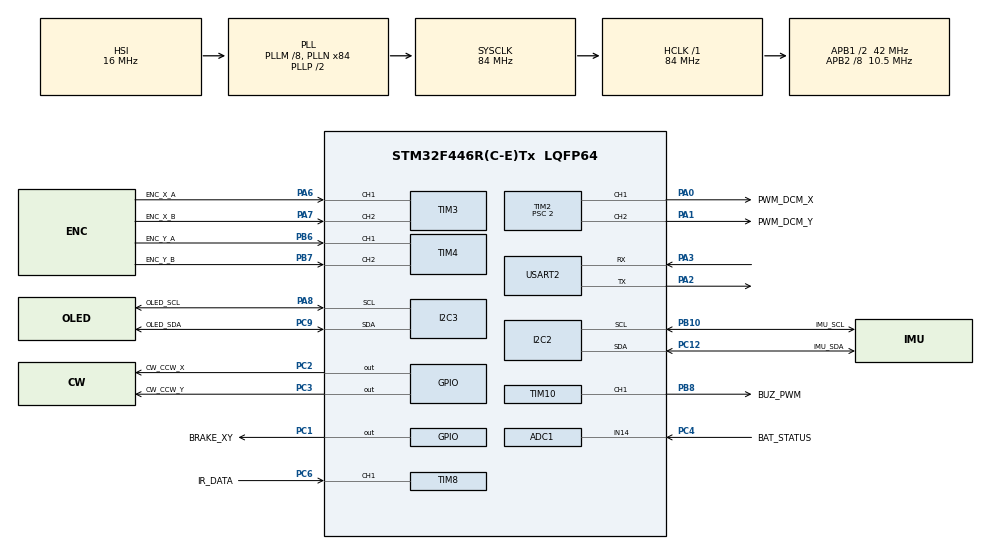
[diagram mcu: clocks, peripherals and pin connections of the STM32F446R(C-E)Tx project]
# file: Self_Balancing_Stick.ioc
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ADC1.Channel-2\#ChannelRegularConversion=ADC_CHANNEL_14
ADC1.NbrOfConversionFlag=1
ADC1.Rank-2\#ChannelRegularConversion=1
ADC1.Resolution=ADC_RESOLUTION_10B
ADC1.SamplingTime-2\#ChannelRegularConversion=ADC_SAMPLETIME_3CYCLES
ADC1.master=1
Dma.Request0=TIM8_CH1
Dma.TIM8_CH1.0.Direction=DMA_PERIPH_TO_MEMORY
Dma.TIM8_CH1.0.FIFOMode=DMA_FIFOMODE_DISABLE
Dma.TIM8_CH1.0.Instance=DMA2_Stream2
Dma.TIM8_CH1.0.MemDataAlignment=DMA_MDATAALIGN_WORD
Dma.TIM8_CH1.0.MemInc=DMA_MINC_ENABLE
Dma.TIM8_CH1.0.Mode=DMA_NORMAL
Dma.TIM8_CH1.0.PeriphDataAlignment=DMA_PDATAALIGN_WORD
Dma.TIM8_CH1.0.PeriphInc=DMA_PINC_DISABLE
Dma.TIM8_CH1.0.Priority=DMA_PRIORITY_LOW
I2C2.I2C_Mode=I2C_Fast
Mcu.Family=STM32F4
Mcu.Name=STM32F446R(C-E)Tx
Mcu.Package=LQFP64
NVIC.DMA2_Stream2_IRQn=true\:0\:0\:false\:false\:true\:false\:true\:true
NVIC.I2C2_EV_IRQn=true\:2\:0\:true\:false\:true\:true\:true\:true
NVIC.I2C3_EV_IRQn=true\:10\:0\:true\:false\:true\:true\:true\:true
NVIC.PriorityGroup=NVIC_PRIORITYGROUP_4
NVIC.TIM1_TRG_COM_TIM11_IRQn=true\:7\:0\:true\:false\:true\:true\:true\:true
NVIC.TIM3_IRQn=true\:0\:0\:false\:false\:true\:true\:true\:true
NVIC.TIM4_IRQn=true\:0\:0\:false\:false\:true\:true\:true\:true
NVIC.TIM8_BRK_TIM12_IRQn=true\:6\:0\:true\:false\:true\:true\:true\:true
NVIC.TIM8_CC_IRQn=true\:0\:0\:false\:false\:true\:true\:true\:true
NVIC.TIM8_TRG_COM_TIM14_IRQn=true\:0\:0\:false\:false\:true\:true\:true\:true
NVIC.TIM8_UP_TIM13_IRQn=true\:9\:0\:true\:false\:true\:true\:true\:true
NVIC.USART2_IRQn=true\:0\:0\:false\:false\:true\:true\:true\:true
PA0-WKUP.GPIO_Label=PWM_DCM_X
PA0-WKUP.Signal=S_TIM2_CH1_ETR
PA1.GPIO_Label=PWM_DCM_Y
PA1.Signal=S_TIM2_CH2
PA13.Mode=Serial_Wire
PA13.Signal=SYS_JTMS-SWDIO
PA14.Mode=Serial_Wire
PA14.Signal=SYS_JTCK-SWCLK
PA2.Mode=Asynchronous
PA2.Signal=USART2_TX
PA3.Mode=Asynchronous
PA3.Signal=USART2_RX
PA6.GPIO_Label=ENC_X_A
PA6.Signal=S_TIM3_CH1
PA7.GPIO_Label=ENC_X_B
PA7.Signal=S_TIM3_CH2
PA8.GPIO_Label=OLED_SCL
PA8.Mode=I2C
PA8.Signal=I2C3_SCL
PB10.GPIO_Label=IMU_SCL
PB10.Mode=I2C
PB10.Signal=I2C2_SCL
PB6.GPIO_Label=ENC_Y_A
PB6.Signal=S_TIM4_CH1
PB7.GPIO_Label=ENC_Y_B
PB7.Signal=S_TIM4_CH2
PB8.GPIO_Label=BUZ_PWM
PB8.Signal=S_TIM10_CH1
PC1.GPIO_Label=BRAKE_XY
PC1.GPIO_PuPd=GPIO_PULLDOWN
PC1.PinState=GPIO_PIN_RESET
PC1.Signal=GPIO_Output
PC12.GPIO_Label=IMU_SDA
PC12.Mode=I2C
PC12.Signal=I2C2_SDA
PC2.GPIO_Label=CW_CCW_X
PC2.GPIO_PuPd=GPIO_PULLUP
PC2.Signal=GPIO_Output
PC3.GPIO_Label=CW_CCW_Y
PC3.GPIO_PuPd=GPIO_PULLUP
PC3.Signal=GPIO_Output
PC4.GPIO_Label=BAT_STATUS
PC4.Signal=ADCx_IN14
PC6.GPIO_Label=IR_DATA
PC6.Signal=S_TIM8_CH1
PC9.GPIO_Label=OLED_SDA
PC9.Mode=I2C
PC9.Signal=I2C3_SDA
ProjectManager.HeapSize=0x200
ProjectManager.StackSize=0x400
ProjectManager.TargetToolchain=STM32CubeIDE
RCC.AHBFreq_Value=84000000
RCC.APB1CLKDivider=RCC_HCLK_DIV2
RCC.APB1Freq_Value=42000000
RCC.APB1TimFreq_Value=84000000
RCC.APB2CLKDivider=RCC_HCLK_DIV8
RCC.APB2Freq_Value=10500000
RCC.APB2TimFreq_Value=21000000
RCC.CortexFreq_Value=84000000
RCC.HCLKFreq_Value=84000000
RCC.PLLM=8
RCC.PLLN=84
RCC.SYSCLKFreq_VALUE=84000000
RCC.SYSCLKSource=RCC_SYSCLKSOURCE_PLLCLK
RCC.USBFreq_Value=84000000
RCC.VCOOutputFreq_Value=168000000
SH.ADCx_IN14.0=ADC1_IN14,IN14
SH.S_TIM10_CH1.0=TIM10_CH1,PWM Generation1 CH1
SH.S_TIM2_CH1_ETR.0=TIM2_CH1,PWM Generation1 CH1
SH.S_TIM2_CH2.0=TIM2_CH2,PWM Generation2 CH2
SH.S_TIM3_CH1.0=TIM3_CH1,Encoder_Interface
SH.S_TIM3_CH2.0=TIM3_CH2,Encoder_Interface
SH.S_TIM4_CH1.0=TIM4_CH1,Encoder_Interface
SH.S_TIM4_CH2.0=TIM4_CH2,Encoder_Interface
SH.S_TIM8_CH1.0=TIM8_CH1,TriggerSource_TI1FP1
SH.S_TIM8_CH1.1=TIM8_CH1,Input_Capture1_from_TI1
TIM10.Channel=TIM_CHANNEL_1
TIM11.Period=10499
TIM11.Prescaler=0
TIM12.Period=41999
TIM12.Prescaler=19
TIM13.Period=41999
TIM13.Prescaler=99
TIM2.Channel-PWM\ Generation1\ CH1=TIM_CHANNEL_1
TIM2.Channel-PWM\ Generation2\ CH2=TIM_CHANNEL_2
TIM2.Period=1000
TIM2.Prescaler=2
TIM8.Channel-Input_Capture1_from_TI1=TIM_CHANNEL_1
TIM8.ICFilter_CH1=4
TIM8.ICPolarity_CH1=TIM_INPUTCHANNELPOLARITY_FALLING
TIM8.Prescaler=20
USART2.VirtualMode=VM_ASYNC
VP_ADC1_Vref_Input.Mode=IN-Vrefint
VP_TIM10_VS_ClockSourceINT.Mode=Enable_Timer
VP_TIM11_VS_ClockSourceINT.Mode=Enable_Timer
VP_TIM12_VS_ClockSourceINT.Mode=Internal
VP_TIM13_VS_ClockSourceINT.Mode=Enable_Timer
VP_TIM8_VS_ClockSourceINT.Mode=Internal
VP_TIM8_VS_ControllerModeReset.Mode=Reset Mode
board=custom

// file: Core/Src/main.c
/* USER CODE BEGIN Header */
/**
  ******************************************************************************
  * @file           : main.c
  * @brief          : Main program body
  ******************************************************************************
  * @attention
  *
  * Copyright (c) 2022 STMicroelectronics.
  * All rights reserved.
  *
  * This software is licensed under terms that can be found in the LICENSE file
  * in the root directory of this software component.
  * If no LICENSE file comes with this software, it is provided AS-IS.
  *
  ******************************************************************************
  */
/* USER CODE END Header */
#include "main.h"
#include "adc.h"
#include "dma.h"
#include "i2c.h"
#include "tim.h"
#include "usart.h"
#include "gpio.h"

/* USER CODE BEGIN Includes */
#include "mpu6050_Ext.h"
#include "controller_Ext.h"
#include "MotorExt.h"
#include "EncoderExt.h"
#include "Buzzer_Ext.h"
#include "Remote_Cmd_Ext.h"
#include "Display_Ext.h"
#include "ssd1306.h"
#include "eeprom.h"
#include "stdio.h"

/* USER CODE END Includes */

/* USER CODE BEGIN PV */

/* Controller section*/
Controller_t _sControllerX;
Controller_t _sControllerY;

/* Motor X section*/
Motor_Handle_t _sMotorHandleX;
float _float_VoltageValueX = 0;
float _float_DutyCycleX = 0;

/* Motor Y section */
Motor_Handle_t _sMotorHandleY;
float _float_VoltageValueY = 0;
float _float_DutyCycleY = 0;

/* Tick variables */
uint32_t _xRoutineStartTick = 0;
uint32_t _xRoutineEndTick = 0;
uint32_t _xRoutineElapsedTime = 0;
uint32_t _xRoutineNow = 0;

Motor_Brake_t _sMotorBrake;

Bool_t _Bool_IsControlLoopEnabled = FALSE;

MPU6050_Angles_t _sMain_Angles = {0};

char _Char_TerminalBuff[50];

/* USER CODE END PV */

void SystemClock_Config(void);
/* USER CODE BEGIN PFP */
void HAL_TIM_PeriodElapsedCallback(TIM_HandleTypeDef *htim);
void Main_ControlLoop();
void Main_DisplayUpdateLoop();
/* USER CODE END PFP */

int main(void)
{
  /* USER CODE BEGIN 1 */
  Error_t Error = E_OK;
  Motor_BrakeState_te Enum_BrakeState = BRAKE_ON;

  /* 2x3 matrix */
  float* vRemoteCmdItemPointer[Display_Element_LastControllerValue][Display_Element_LastPidCoeffValue - Display_Element_LastControllerValue];
  /* USER CODE END 1 */

  /* MCU Configuration--------------------------------------------------------*/

  /* Reset of all peripherals, Initializes the Flash interface and the Systick. */
  HAL_Init();

  /* Configure the system clock */
  SystemClock_Config();

  /* USER CODE BEGIN SysInit */
  memset(&hi2c2, 0x0, sizeof(hi2c2));
  /* USER CODE END SysInit */

  /* Initialize all configured peripherals */
  MX_GPIO_Init();
  MX_DMA_Init();
  MX_TIM2_Init();
  MX_TIM3_Init();
  MX_TIM4_Init();
  MX_TIM10_Init();
  MX_I2C2_Init();
  MX_ADC1_Init();
  MX_I2C3_Init();
  MX_TIM8_Init();
  MX_TIM11_Init();
  MX_TIM12_Init();
  MX_USART2_UART_Init();
  MX_TIM13_Init();
  /* USER CODE BEGIN 2 */

  /* IMU initialization */
  while (MPU6050_Init(&hi2c2) == 1)
  {
	  HAL_Delay (100);
  }

  /* Start encoder timer and clear any interrupt */
  __HAL_TIM_CLEAR_IT(&htim3, TIM_IT_UPDATE);
  __HAL_TIM_CLEAR_IT(&htim4, TIM_IT_UPDATE);
  HAL_TIM_Base_Start_IT(&htim3);
  HAL_TIM_Base_Start_IT(&htim4);

  /* Start IMU sample loop timer */
  HAL_TIM_Base_Start_IT(&htim11);

  /* Brake structure initialization */
  _sMotorBrake.Enum_BrakeState = BRAKE_OFF;
  _sMotorBrake.GPIO_Pin_Brake = BRAKE_XY_Pin;
  _sMotorBrake.GPIO_Port_Brake = BRAKE_XY_GPIO_Port;

  /* Motor initialization */
  memset(&_sMotorHandleX , 0, sizeof(_sMotorHandleX));
  _sMotorHandleX.htim = &htim2;
  _sMotorHandleX.uint32_TimChannel = TIM_CHANNEL_2;
  _sMotorHandleX.GPIO_Pin_SpinDirection = CW_CCW_Y_Pin;
  _sMotorHandleX.GPIO_Port_SpinDirection = CW_CCW_Y_GPIO_Port;
  Motor_Init(&_sMotorHandleX, &_sMotorBrake);

  memset(&_sMotorHandleY , 0, sizeof(_sMotorHandleY));
  _sMotorHandleY.htim = &htim2;
  _sMotorHandleY.uint32_TimChannel = TIM_CHANNEL_1;
  _sMotorHandleY.GPIO_Pin_SpinDirection = CW_CCW_X_Pin;
  _sMotorHandleY.GPIO_Port_SpinDirection = CW_CCW_X_GPIO_Port;
  Motor_Init(&_sMotorHandleY, &_sMotorBrake);

  /* Encoder initialization */
  Error = Encoder_Init(htim3.Instance, htim4.Instance);

  /* Controller initialization*/
  Error_Check(Error, Controller_Init(&_sControllerX,	//controller instance
		  	  	  	  	  	  	  	 CONTROLLER_AXIS_X, // direction
									 0,					// set point
									 200,				// Kp
									 2,                	// Ki
									 0));  				// Kd

  Error_Check(Error, Controller_Init(&_sControllerY,	//controller instance
		  	  	  	  	  	  	  	 CONTROLLER_AXIS_Y,	// direction
									 0,					// set point
									 200,				// Kp
									 2,					// Ki
									 0));  				// Kd

  /* OLED display initialization */
  Display_Init(&_sControllerX, &_sControllerY);

  /* Remote command module initialization */
  vRemoteCmdItemPointer[Display_Element_1][Display_Element_Kp - Display_Element_FirstPidCoeffValue] = &_sControllerX.float_Kp;
  vRemoteCmdItemPointer[Display_Element_1][Display_Element_Ki - Display_Element_FirstPidCoeffValue] = &_sControllerX.float_Ki;
  vRemoteCmdItemPointer[Display_Element_1][Display_Element_Kd - Display_Element_FirstPidCoeffValue] = &_sControllerX.float_Kd;

  vRemoteCmdItemPointer[Display_Element_2][Display_Element_Kp - Display_Element_FirstPidCoeffValue] = &_sControllerY.float_Kp;
  vRemoteCmdItemPointer[Display_Element_2][Display_Element_Ki - Display_Element_FirstPidCoeffValue] = &_sControllerY.float_Ki;
  vRemoteCmdItemPointer[Display_Element_2][Display_Element_Kd - Display_Element_FirstPidCoeffValue] = &_sControllerY.float_Kd;
  Remote_Cmd_Init(&_sMotorBrake, &_Bool_IsControlLoopEnabled, vRemoteCmdItemPointer);

  /* USER CODE END 2 */

  /* Infinite loop */
  /* USER CODE BEGIN WHILE */

  /* Wait till the stick is in vertical position */
  while (FALSE == MPU6050_IsVertical())
  {
	  HAL_Delay (100);
  }
  /* Toggle brake ON */
  Motor_SetBrake(&_sMotorBrake, Enum_BrakeState);

  /* Start Display Update loop timer */
  HAL_TIM_Base_Start_IT(&htim13);

  /* Start Control loop timer */
  HAL_TIM_Base_Start_IT(&htim12);

  while (1)
  {
    /* USER CODE END WHILE */

    /* USER CODE BEGIN 3 */
	  asm("NOP");
  }
  /* USER CODE END 3 */
}

void SystemClock_Config(void)
{
  RCC_OscInitTypeDef RCC_OscInitStruct = {0};
  RCC_ClkInitTypeDef RCC_ClkInitStruct = {0};

  /** Configure the main internal regulator output voltage
  */
  __HAL_RCC_PWR_CLK_ENABLE();
  __HAL_PWR_VOLTAGESCALING_CONFIG(PWR_REGULATOR_VOLTAGE_SCALE3);

  /** Initializes the RCC Oscillators according to the specified parameters
  * in the RCC_OscInitTypeDef structure.
  */
  RCC_OscInitStruct.OscillatorType = RCC_OSCILLATORTYPE_HSI;
  RCC_OscInitStruct.HSIState = RCC_HSI_ON;
  RCC_OscInitStruct.HSICalibrationValue = RCC_HSICALIBRATION_DEFAULT;
  RCC_OscInitStruct.PLL.PLLState = RCC_PLL_ON;
  RCC_OscInitStruct.PLL.PLLSource = RCC_PLLSOURCE_HSI;
  RCC_OscInitStruct.PLL.PLLM = 8;
  RCC_OscInitStruct.PLL.PLLN = 84;
  RCC_OscInitStruct.PLL.PLLP = RCC_PLLP_DIV2;
  RCC_OscInitStruct.PLL.PLLQ = 2;
  RCC_OscInitStruct.PLL.PLLR = 2;
  if (HAL_RCC_OscConfig(&RCC_OscInitStruct) != HAL_OK)
  {
    Error_Handler();
  }

  /** Initializes the CPU, AHB and APB buses clocks
  */
  RCC_ClkInitStruct.ClockType = RCC_CLOCKTYPE_HCLK|RCC_CLOCKTYPE_SYSCLK
                              |RCC_CLOCKTYPE_PCLK1|RCC_CLOCKTYPE_PCLK2;
  RCC_ClkInitStruct.SYSCLKSource = RCC_SYSCLKSOURCE_PLLCLK;
  RCC_ClkInitStruct.AHBCLKDivider = RCC_SYSCLK_DIV1;
  RCC_ClkInitStruct.APB1CLKDivider = RCC_HCLK_DIV2;
  RCC_ClkInitStruct.APB2CLKDivider = RCC_HCLK_DIV8;

  if (HAL_RCC_ClockConfig(&RCC_ClkInitStruct, FLASH_LATENCY_2) != HAL_OK)
  {
    Error_Handler();
  }
}

/* USER CODE BEGIN 4 */

void Main_ControlLoop()
{
	_xRoutineStartTick = HAL_GetTick();

	if (_Bool_IsControlLoopEnabled == TRUE)
	{
		/* IMU Utility function, uncomment if necessary */
		/* Calculation of Accelerometer and Gyroscope offsets, need to be hard-coded manually after calibration */
		//	  MPU6050_Calibrate();

		/* Calculation of set point, need to be hard-coded manually after calibration */
		//	  MPU6050_CalculateSetPoint();

		/* Controller_X routine */
		Controller_GetPIDVoltageValue(_xRoutineStartTick, _sMain_Angles, &_sControllerX, &_float_VoltageValueX);
		Controller_CalculateDutyCycle(&_sControllerX, _float_VoltageValueX, &_float_DutyCycleX);
		Motor_SetDutyCycle(&_sMotorHandleX, _float_DutyCycleX);

		_xRoutineNow = HAL_GetTick();

		/* Controller_Y routine */
		Controller_GetPIDVoltageValue(_xRoutineNow, _sMain_Angles, &_sControllerY, &_float_VoltageValueY);
		Controller_CalculateDutyCycle(&_sControllerY, _float_VoltageValueY, &_float_DutyCycleY);
		Motor_SetDutyCycle(&_sMotorHandleY, -(_float_DutyCycleY));

		/* Sampling Time */
		_xRoutineEndTick = HAL_GetTick();
		_xRoutineElapsedTime = _xRoutineEndTick - _xRoutineStartTick;
	}

//	uint16_t uint16_size = 0;
//	uint16_size = sprintf(_Char_TerminalBuff, "%lu,%f,%f \r\n", _xRoutineStartTick, _sMain_Angles.AngleX, _sMain_Angles.AngleY);
//	HAL_UART_Transmit_IT(&huart2, (uint8_t*)_Char_TerminalBuff, uint16_size);
}

void Main_DisplayUpdateLoop()
{
	/* Periodic update of OLED display to show updated info */
	Display_UpdateScreen();
}

void HAL_TIM_PeriodElapsedCallback(TIM_HandleTypeDef *htim)
{
	if ((htim == &htim3) || (htim == &htim4))
	{
		Encoder_InterruptCallback(htim);
	}
	/* TIM11 - IMU sample loop */
	else if (htim == &htim11)
	{
		MPU6050_Get_Angles(&_sMain_Angles);
	}
	/* TIM12 - Control loop */
	else if (htim == &htim12)
	{
		Main_ControlLoop();
	}
	else if (htim == &htim13)
	{
		Main_DisplayUpdateLoop();
	}
}
/* USER CODE END 4 */

void Error_Handler(void)
{
  __disable_irq();
  while (1)
  {
  }
}
